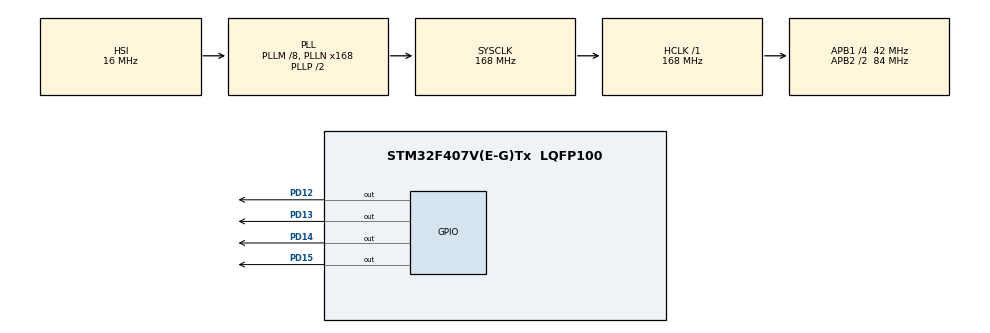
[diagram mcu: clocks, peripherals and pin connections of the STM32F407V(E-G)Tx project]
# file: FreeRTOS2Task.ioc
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Mcu.Family=STM32F4
Mcu.Name=STM32F407V(E-G)Tx
Mcu.Package=LQFP100
NVIC.PriorityGroup=NVIC_PRIORITYGROUP_4
NVIC.TIM6_DAC_IRQn=true\:15\:0\:false\:false\:true\:false\:true\:true
NVIC.TimeBase=TIM6_DAC_IRQn
NVIC.TimeBaseIP=TIM6
PD12.Signal=GPIO_Output
PD13.Signal=GPIO_Output
PD14.Signal=GPIO_Output
PD15.Signal=GPIO_Output
PH0-OSC_IN.Mode=HSE-External-Oscillator
PH0-OSC_IN.Signal=RCC_OSC_IN
PH1-OSC_OUT.Mode=HSE-External-Oscillator
PH1-OSC_OUT.Signal=RCC_OSC_OUT
ProjectManager.HeapSize=0x200
ProjectManager.StackSize=0x400
ProjectManager.TargetToolchain=STM32CubeIDE
RCC.48MHZClocksFreq_Value=84000000
RCC.AHBFreq_Value=168000000
RCC.APB1CLKDivider=RCC_HCLK_DIV4
RCC.APB1Freq_Value=42000000
RCC.APB1TimFreq_Value=84000000
RCC.APB2CLKDivider=RCC_HCLK_DIV2
RCC.APB2Freq_Value=84000000
RCC.APB2TimFreq_Value=168000000
RCC.CortexFreq_Value=168000000
RCC.HCLKFreq_Value=168000000
RCC.HSE_VALUE=25000000
RCC.HSI_VALUE=16000000
RCC.LSE_VALUE=32768
RCC.PLLM=8
RCC.PLLN=168
RCC.SYSCLKFreq_VALUE=168000000
RCC.SYSCLKSource=RCC_SYSCLKSOURCE_PLLCLK
RCC.VCOOutputFreq_Value=336000000
VP_SYS_VS_tim6.Mode=TIM6
board=custom

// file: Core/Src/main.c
/* USER CODE BEGIN Header */
/**
  ******************************************************************************
  * @file           : main.c
  * @brief          : Main program body
  ******************************************************************************
  * @attention
  *
  * Copyright (c) 2023 STMicroelectronics.
  * All rights reserved.
  *
  * This software is licensed under terms that can be found in the LICENSE file
  * in the root directory of this software component.
  * If no LICENSE file comes with this software, it is provided AS-IS.
  *
  ******************************************************************************
  */
/* USER CODE END Header */
#include "main.h"

/* USER CODE BEGIN Includes */
#include <stdio.h>
#include "FreeRTOS.h"
#include "task.h"
/* USER CODE END Includes */

/* USER CODE BEGIN PV */
#define DWT_CTRL (*(volatile uint32_t*) 0xE0001000)   // for segger sysview config
/* USER CODE END PV */

void SystemClock_Config(void);
static void MX_GPIO_Init(void);
/* USER CODE BEGIN PFP */

static void led_green_handler (void* parameters);
static void led_orange_handler (void* parameters);
static void led_red_handler (void* parameters);
static void led_blue_handler (void* parameters);

extern void SEGGER_UART_init(uint32_t);

/* USER CODE END PFP */

int main(void)
{
  /* USER CODE BEGIN 1 */
	TaskHandle_t task1_handle;
	TaskHandle_t task2_handle;
	TaskHandle_t task3_handle;
	TaskHandle_t task4_handle;
	BaseType_t status;
  /* USER CODE END 1 */

  /* MCU Configuration--------------------------------------------------------*/

  /* Reset of all peripherals, Initializes the Flash interface and the Systick. */
  HAL_Init();

  /* Configure the system clock */
  SystemClock_Config();

  /* Initialize all configured peripherals */
  MX_GPIO_Init();
  /* USER CODE BEGIN 2 */

  SEGGER_UART_init(500000);

  //CYCLCNT enable
  DWT_CTRL |= ( 1 << 0);

  SEGGER_SYSVIEW_Conf();

  status = xTaskCreate(led_green_handler, "LED_green_task", 200, NULL, 2, &task1_handle);

  configASSERT(status == pdPASS);

  status = xTaskCreate(led_red_handler, "LED_red_task", 200,NULL, 2, &task2_handle);

  configASSERT(status == pdPASS);

  status = xTaskCreate(led_orange_handler, "LED_orange_task", 200, NULL, 2, &task3_handle);

  configASSERT(status == pdPASS);

  status = xTaskCreate(led_blue_handler, "LED_blue_task", 200, NULL, 2, &task4_handle);

    configASSERT(status == pdPASS);

  //start the freeRTOS scheduler
  vTaskStartScheduler();
  /* USER CODE END 2 */

  /* Infinite loop */
  while (1)
  {

  }
}

void SystemClock_Config(void)
{
  RCC_OscInitTypeDef RCC_OscInitStruct = {0};
  RCC_ClkInitTypeDef RCC_ClkInitStruct = {0};

  /** Configure the main internal regulator output voltage
  */
  __HAL_RCC_PWR_CLK_ENABLE();
  __HAL_PWR_VOLTAGESCALING_CONFIG(PWR_REGULATOR_VOLTAGE_SCALE1);

  /** Initializes the RCC Oscillators according to the specified parameters
  * in the RCC_OscInitTypeDef structure.
  */
  RCC_OscInitStruct.OscillatorType = RCC_OSCILLATORTYPE_HSI;
  RCC_OscInitStruct.HSIState = RCC_HSI_ON;
  RCC_OscInitStruct.HSICalibrationValue = RCC_HSICALIBRATION_DEFAULT;
  RCC_OscInitStruct.PLL.PLLState = RCC_PLL_ON;
  RCC_OscInitStruct.PLL.PLLSource = RCC_PLLSOURCE_HSI;
  RCC_OscInitStruct.PLL.PLLM = 8;
  RCC_OscInitStruct.PLL.PLLN = 168;
  RCC_OscInitStruct.PLL.PLLP = RCC_PLLP_DIV2;
  RCC_OscInitStruct.PLL.PLLQ = 4;
  if (HAL_RCC_OscConfig(&RCC_OscInitStruct) != HAL_OK)
  {
    Error_Handler();
  }

  /** Initializes the CPU, AHB and APB buses clocks
  */
  RCC_ClkInitStruct.ClockType = RCC_CLOCKTYPE_HCLK|RCC_CLOCKTYPE_SYSCLK
                              |RCC_CLOCKTYPE_PCLK1|RCC_CLOCKTYPE_PCLK2;
  RCC_ClkInitStruct.SYSCLKSource = RCC_SYSCLKSOURCE_PLLCLK;
  RCC_ClkInitStruct.AHBCLKDivider = RCC_SYSCLK_DIV1;
  RCC_ClkInitStruct.APB1CLKDivider = RCC_HCLK_DIV4;
  RCC_ClkInitStruct.APB2CLKDivider = RCC_HCLK_DIV2;

  if (HAL_RCC_ClockConfig(&RCC_ClkInitStruct, FLASH_LATENCY_5) != HAL_OK)
  {
    Error_Handler();
  }
}

static void MX_GPIO_Init(void)
{
  GPIO_InitTypeDef GPIO_InitStruct = {0};

  /* GPIO Ports Clock Enable */
  __HAL_RCC_GPIOH_CLK_ENABLE();
  __HAL_RCC_GPIOD_CLK_ENABLE();

  /*Configure GPIO pin Output Level */
  HAL_GPIO_WritePin(GPIOD, GPIO_PIN_12|GPIO_PIN_13|GPIO_PIN_14|GPIO_PIN_15, GPIO_PIN_RESET);

  /*Configure GPIO pins : PD12 PD13 PD14 PD15 */
  GPIO_InitStruct.Pin = GPIO_PIN_12|GPIO_PIN_13|GPIO_PIN_14|GPIO_PIN_15;
  GPIO_InitStruct.Mode = GPIO_MODE_OUTPUT_PP;
  GPIO_InitStruct.Pull = GPIO_NOPULL;
  GPIO_InitStruct.Speed = GPIO_SPEED_FREQ_LOW;
  HAL_GPIO_Init(GPIOD, &GPIO_InitStruct);

}

/* USER CODE BEGIN 4 */
static void led_green_handler(void* parameters)
{

	while(1)
	{
		SEGGER_SYSVIEW_PrintfTarget("Toggling green LED");
		HAL_GPIO_TogglePin(GPIOD, GPIO_PIN_12);
		HAL_Delay(400);
	}

}

static void led_orange_handler(void* parameters)
{
	while(1)
	{
		SEGGER_SYSVIEW_PrintfTarget("Toggling orange LED");
		HAL_GPIO_TogglePin(GPIOD, GPIO_PIN_13);
		HAL_Delay(1600);
	}

}

static void led_red_handler(void* parameters)
{
	while(1)
	{
		SEGGER_SYSVIEW_PrintfTarget("Toggling red LED");
		HAL_GPIO_TogglePin(GPIOD, GPIO_PIN_14);
		HAL_Delay(1200);
	}

}

static void led_blue_handler(void* parameters)
{
	while(1)
	{
		SEGGER_SYSVIEW_PrintfTarget("Toggling blue LED");
		HAL_GPIO_TogglePin(GPIOD, GPIO_PIN_15);
		HAL_Delay(800);
	}

}

/* USER CODE END 4 */

void HAL_TIM_PeriodElapsedCallback(TIM_HandleTypeDef *htim)
{
  if (htim->Instance == TIM6) {
    HAL_IncTick();
  }
}

void Error_Handler(void)
{
  __disable_irq();
  while (1)
  {
  }
}
